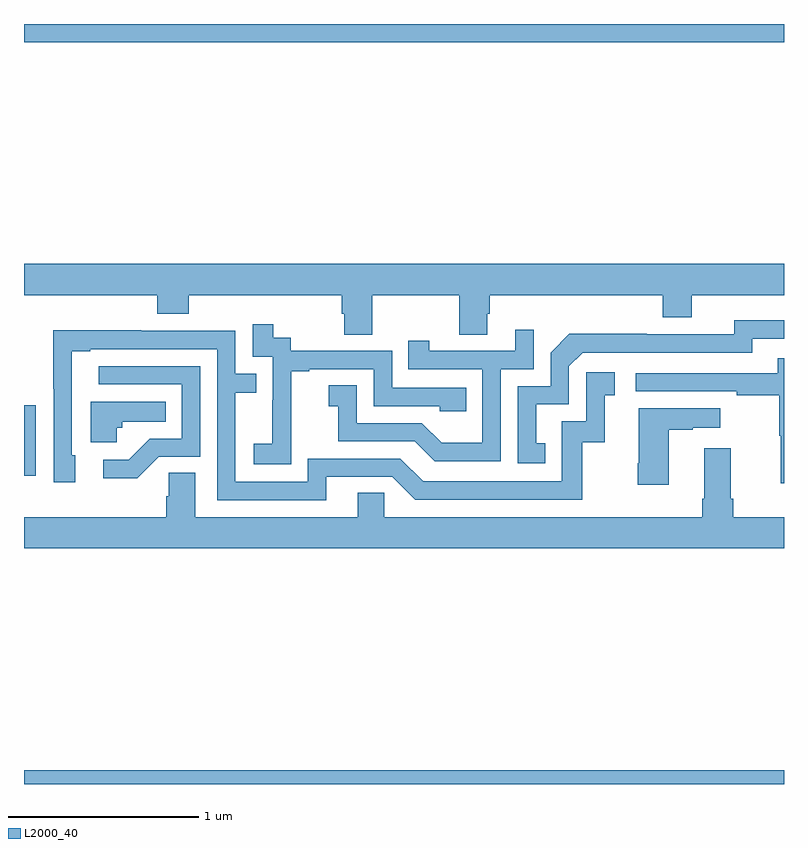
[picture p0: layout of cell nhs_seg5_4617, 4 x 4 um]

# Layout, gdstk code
import gdstk
lib = gdstk.Library(unit=1e-6, precision=1e-09)
def R(c, l, rs):  # rectangles x0, y0, x1, y1
    for r in rs: c.add(gdstk.rectangle(r[:2], r[2:], *l))
def P(c, l, *ps):  # polygons
    for p in ps: c.add(gdstk.Polygon(p, *l))
L2000_40 = (2000, 40)

nhs_seg5_4617 = lib.new_cell('nhs_seg5_4617')
R(nhs_seg5_4617, L2000_40, [(381,908.799,385,908.872), (381,910.422,381.063,910.792), (381,912.704,385,912.799)])
P(nhs_seg5_4617, L2000_40, [(382.833,911.372),(383.29,911.372),(383.29,911.164),(383.437,911.164),(383.437,911.274),(383.45,911.274),(383.45,911.372),(384.362,911.372),(384.362,911.255),(384.514,911.255),(384.514,911.372),(385,911.372),(385,911.536),(381,911.536),(381,911.372),(381.701,911.372),(381.701,911.273),(381.866,911.273),(381.866,911.372),(382.673,911.372),(382.673,911.274),(382.685,911.274),(382.685,911.164),(382.833,911.164)],
  [(383.744,910.593),(383.695,910.593),(383.695,910.797),(383.868,910.797),(383.868,910.998),(383.94,911.07),(384.834,911.07),(384.834,911.142),(385,911.142),(385,911.239),(384.738,911.239),(384.738,911.166),(384.278,911.166),(384.278,911.168),(383.87,911.168),(383.772,911.07),(383.772,910.893),(383.598,910.893),(383.598,910.488),(383.744,910.488)],
  [(382.407,910.687),(382.406,910.687),(382.406,910.971),(382.501,910.971),(382.501,910.983),(382.842,910.983),(382.842,910.788),(383.187,910.788),(383.187,910.761),(383.327,910.761),(383.327,910.884),(382.938,910.884),(382.938,911.079),(382.404,911.079),(382.404,911.148),(382.312,911.148),(382.312,911.218),(382.203,911.218),(382.203,911.049),(382.308,911.049),(382.308,910.82),(382.307,910.82),(382.307,910.591),(382.209,910.591),(382.209,910.481),(382.407,910.481)],
  [(383.508,910.983),(383.682,910.983),(383.682,911.191),(383.585,911.191),(383.585,911.079),(383.134,911.079),(383.134,911.131),(383.023,911.131),(383.023,910.983),(383.412,910.983),(383.412,910.594),(383.198,910.594),(383.094,910.698),(382.752,910.698),(382.752,910.897),(382.605,910.897),(382.605,910.787),(382.654,910.787),(382.654,910.602),(383.057,910.602),(383.162,910.497),(383.508,910.497)],
  [(382.591,910.416),(382.938,910.416),(383.058,910.296),(383.938,910.296),(383.938,910.599),(384.056,910.599),(384.056,910.845),(384.109,910.845),(384.109,910.966),(383.958,910.966),(383.958,910.707),(383.829,910.707),(383.829,910.392),(383.1,910.392),(382.98,910.512),(382.494,910.512),(382.494,910.389),(382.113,910.389),(382.113,910.858),(382.223,910.858),(382.223,910.959),(382.113,910.959),(382.113,911.184),(381.617,911.184),(381.617,911.186),(381.154,911.186),(381.154,910.879),(381.156,910.879),(381.156,910.386),(381.271,910.386),(381.271,910.53),(381.252,910.53),(381.252,911.076),(381.349,911.076),(381.349,911.088),(382.017,911.088),(382.017,910.293),(382.591,910.293)],
  [(385,911.041),(384.967,911.041),(384.967,910.962),(384.219,910.962),(384.219,910.866),(384.751,910.866),(384.751,910.846),(384.975,910.846),(384.975,910.632),(384.982,910.632),(384.982,910.383),(385,910.383)],
  [(381.708,910.521),(381.927,910.521),(381.927,910.998),(381.393,910.998),(381.393,910.902),(381.831,910.902),(381.831,910.617),(381.662,910.617),(381.551,910.506),(381.417,910.506),(381.417,910.409),(381.595,910.409)],
  [(381.489,910.674),(381.516,910.674),(381.516,910.706),(381.746,910.706),(381.746,910.81),(381.35,910.81),(381.35,910.598),(381.489,910.598)],
  [(384.394,910.663),(384.521,910.663),(384.521,910.673),(384.664,910.673),(384.664,910.777),(384.236,910.777),(384.236,910.486),(384.229,910.486),(384.229,910.374),(384.394,910.374)],
  [(385,910.204),(384.734,910.204),(384.734,910.3),(384.721,910.3),(384.721,910.567),(384.581,910.567),(384.581,910.3),(384.569,910.3),(384.569,910.204),(382.896,910.204),(382.896,910.331),(382.757,910.331),(382.757,910.204),(381.901,910.204),(381.901,910.436),(381.762,910.436),(381.762,910.313),(381.749,910.313),(381.749,910.204),(381,910.204),(381,910.04),(385,910.04)])

lib.write_gds('nhs_seg5_4617.gds')
